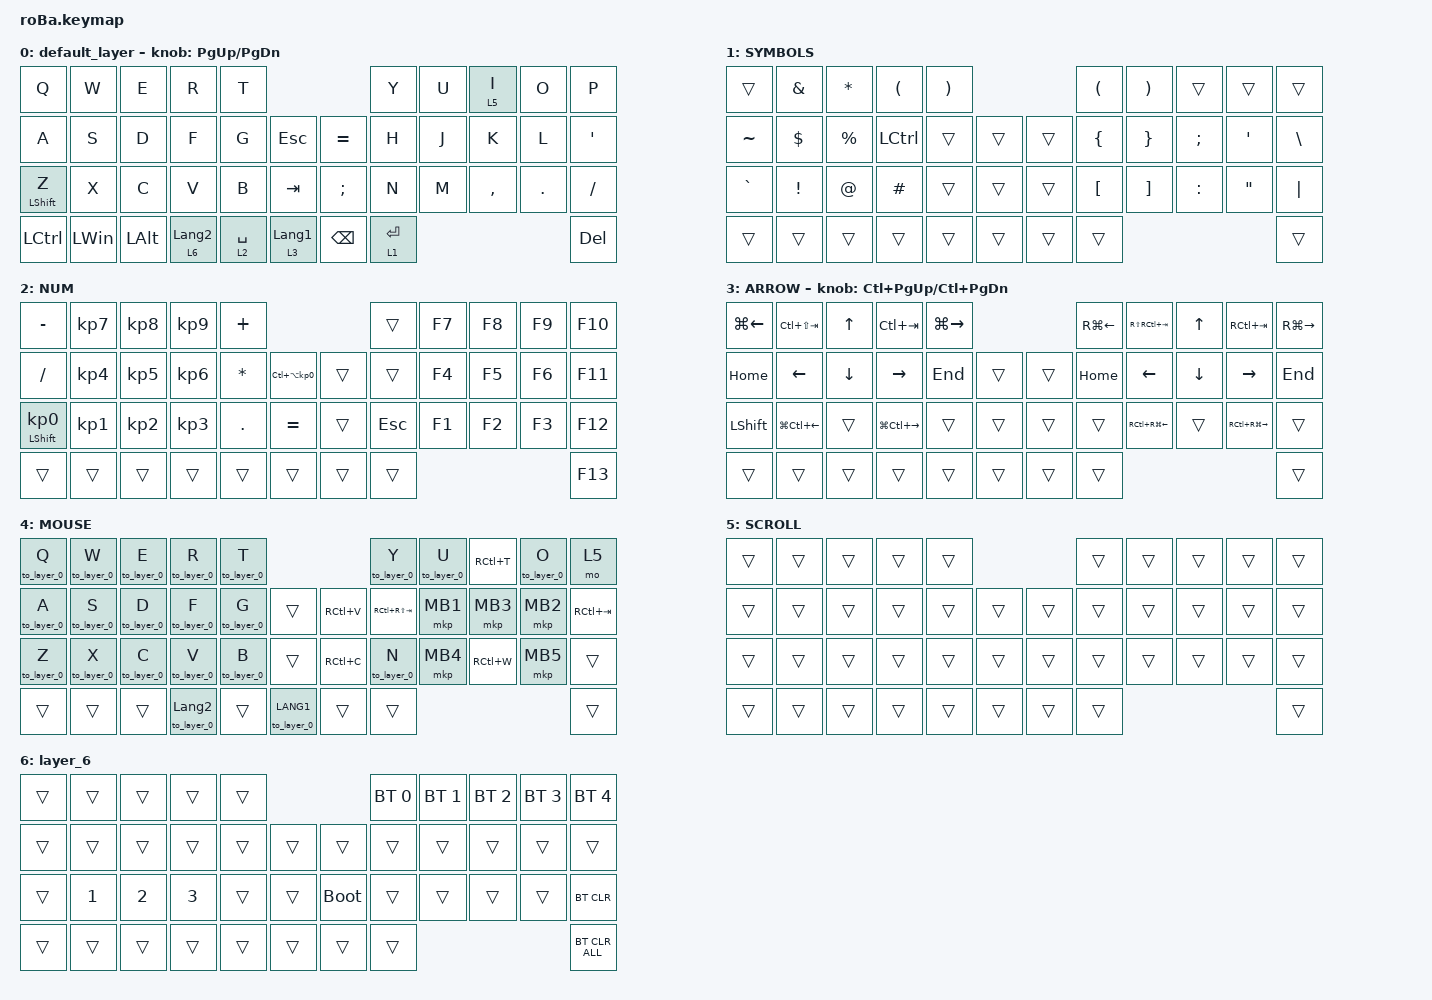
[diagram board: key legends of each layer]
#include <behaviors.dtsi>
#include <dt-bindings/zmk/bt.h>
#include <dt-bindings/zmk/keys.h>
#include <dt-bindings/zmk/pointing.h>

&mt {
    flavor = "balanced";
    quick-tap-ms = <0>;
};

&trackball {
    automouse-layer = <4>;
    scroll-layers = <5>;

    // arrows {
    //     layers = <3>;
    //     bindings =
    //         <&kp RIGHT_ARROW>,
    //         <&kp LEFT_ARROW>,
    //         <&kp UP_ARROW>,
    //         <&kp DOWN_ARROW>;
    //     tick = <10>;
    //     wait-ms = <5>;
    //     tap-ms = <5>;
    // };
};

/ {
    combos {
        compatible = "zmk,combos";

        tab {
            bindings = <&kp TAB>;
            key-positions = <11 12>;
        };

        shift_tab {
            bindings = <&kp LS(TAB)>;
            key-positions = <12 13>;
        };

        muhennkann {
            bindings = <&to_layer_0 INT_MUHENKAN>;
            key-positions = <11 10>;
        };

        double_quotation {
            bindings = <&kp DOUBLE_QUOTES>;
            key-positions = <20 21>;
        };

        eq {
            bindings = <&kp EQUAL>;
            key-positions = <24 25>;
        };
    };

    macros {
        to_layer_0: to_layer_0 {
            compatible = "zmk,behavior-macro-one-param";
            #binding-cells = <1>;
            bindings = <&to 0 &macro_param_1to1 &kp MACRO_PLACEHOLDER>;
            label = "TO_LAYER_0";
        };
    };

    behaviors {
        lt_to_layer_0: lt_to_layer_0 {
            compatible = "zmk,behavior-hold-tap";
            label = "LAYER_TAP_TO_0";
            bindings = <&mo>, <&to_layer_0>;

            #binding-cells = <2>;
            tapping-term-ms = <200>;
        };
    };

    keymap {
        compatible = "zmk,keymap";

        default_layer {
            bindings = <
&kp Q             &kp W         &kp E         &kp R             &kp T                                             &kp Y        &kp U  &lt 5 I    &kp O    &kp P
&kp A             &kp S         &kp D         &kp F             &kp G        &kp ESCAPE            &kp EQUAL      &kp H        &kp J  &kp K      &kp L    &kp SQT
&mt LEFT_SHIFT Z  &kp X         &kp C         &kp V             &kp B        &kp TAB               &kp SEMICOLON  &kp N        &kp M  &kp COMMA  &kp DOT  &kp SLASH
&kp LCTRL         &kp LEFT_WIN  &kp LEFT_ALT  &lt 6 LANGUAGE_2  &lt 2 SPACE  &lt 3 LANGUAGE_1      &kp BACKSPACE  &lt 1 ENTER                             &kp DEL
            >;

            sensor-bindings = <&inc_dec_kp PG_UP PAGE_DOWN>;
        };

        SYMBOLS {
            bindings = <
&trans     &kp AMPERSAND    &kp ASTERISK  &kp LEFT_PARENTHESIS  &kp RIGHT_PARENTHESIS                      &kp LEFT_PARENTHESIS  &kp RIGHT_PARENTHESIS  &trans         &trans             &trans
&kp TILDE  &kp DOLLAR       &kp PERCENT   &kp LCTRL             &trans                 &trans      &trans  &kp LEFT_BRACE        &kp RIGHT_BRACE        &kp SEMICOLON  &kp SQT            &kp BACKSLASH
&kp GRAVE  &kp EXCLAMATION  &kp AT_SIGN   &kp HASH              &trans                 &trans      &trans  &kp LEFT_BRACKET      &kp RIGHT_BRACKET      &kp COLON      &kp DOUBLE_QUOTES  &kp PIPE
&trans     &trans           &trans        &trans                &trans                 &trans      &trans  &trans                                                                         &trans
            >;
        };

        NUM {
            bindings = <
&kp MINUS                   &kp KP_NUMBER_7  &kp KP_NUMBER_8  &kp KP_NUMBER_9  &kp PLUS                                           &trans      &kp F7  &kp F8  &kp F9  &kp F10
&kp SLASH                   &kp KP_NUMBER_4  &kp KP_NUMBER_5  &kp KP_NUMBER_6  &kp ASTERISK  &kp LC(LA(KP_NUMBER_0))      &trans  &trans      &kp F4  &kp F5  &kp F6  &kp F11
&mt LEFT_SHIFT KP_NUMBER_0  &kp KP_NUMBER_1  &kp KP_NUMBER_2  &kp KP_NUMBER_3  &kp PERIOD    &kp EQUAL                    &trans  &kp ESCAPE  &kp F1  &kp F2  &kp F3  &kp F12
&trans                      &trans           &trans           &trans           &trans        &trans                       &trans  &trans                              &kp F13
            >;
        };

        ARROW {
            bindings = <
&kp LG(LEFT_ARROW)  &kp LC(LS(TAB))         &kp UP_ARROW    &kp LC(TAB)              &kp LG(RIGHT_ARROW)                      &kp RG(LEFT_ARROW)  &kp RS(RC(TAB))         &kp UP_ARROW    &kp RC(TAB)              &kp RG(RIGHT_ARROW)
&kp HOME            &kp LEFT_ARROW          &kp DOWN_ARROW  &kp RIGHT_ARROW          &kp END              &trans      &trans  &kp HOME            &kp LEFT_ARROW          &kp DOWN_ARROW  &kp RIGHT_ARROW          &kp END
&kp LEFT_SHIFT      &kp LG(LC(LEFT_ARROW))  &trans          &kp LG(LC(RIGHT_ARROW))  &trans               &trans      &trans  &trans              &kp RC(RG(LEFT_ARROW))  &trans          &kp RC(RG(RIGHT_ARROW))  &trans
&trans              &trans                  &trans          &trans                   &trans               &trans      &trans  &trans                                                                               &trans
            >;

            sensor-bindings = <&inc_dec_kp LC(PAGE_UP) LC(PAGE_DOWN)>;
        };

        MOUSE {
            bindings = <
&to_layer_0 Q  &to_layer_0 W  &to_layer_0 E  &to_layer_0 R           &to_layer_0 T                                    &to_layer_0 Y    &to_layer_0 U  &kp RC(T)  &to_layer_0 O  &mo 5
&to_layer_0 A  &to_layer_0 S  &to_layer_0 D  &to_layer_0 F           &to_layer_0 G  &trans                 &kp RC(V)  &kp RC(RS(TAB))  &mkp MB1       &mkp MB3   &mkp MB2       &kp RC(TAB)
&to_layer_0 Z  &to_layer_0 X  &to_layer_0 C  &to_layer_0 V           &to_layer_0 B  &trans                 &kp RC(C)  &to_layer_0 N    &mkp MB4       &kp RC(W)  &mkp MB5       &trans
&trans         &trans         &trans         &to_layer_0 LANGUAGE_2  &trans         &to_layer_0 LANG1      &trans     &trans                                                    &trans
            >;
        };

        SCROLL {
            bindings = <
&trans  &trans  &trans  &trans  &trans                      &trans  &trans  &trans  &trans  &trans
&trans  &trans  &trans  &trans  &trans  &trans      &trans  &trans  &trans  &trans  &trans  &trans
&trans  &trans  &trans  &trans  &trans  &trans      &trans  &trans  &trans  &trans  &trans  &trans
&trans  &trans  &trans  &trans  &trans  &trans      &trans  &trans                          &trans
            >;
        };

        layer_6 {
            bindings = <
&trans  &trans        &trans        &trans        &trans                           &bt BT_SEL 0  &bt BT_SEL 1  &bt BT_SEL 2  &bt BT_SEL 3  &bt BT_SEL 4
&trans  &trans        &trans        &trans        &trans  &trans      &trans       &trans        &trans        &trans        &trans        &trans
&trans  &kp NUMBER_1  &kp NUMBER_2  &kp NUMBER_3  &trans  &trans      &bootloader  &trans        &trans        &trans        &trans        &bt BT_CLR
&trans  &trans        &trans        &trans        &trans  &trans      &trans       &trans                                                  &bt BT_CLR_ALL
            >;
        };
    };
};
